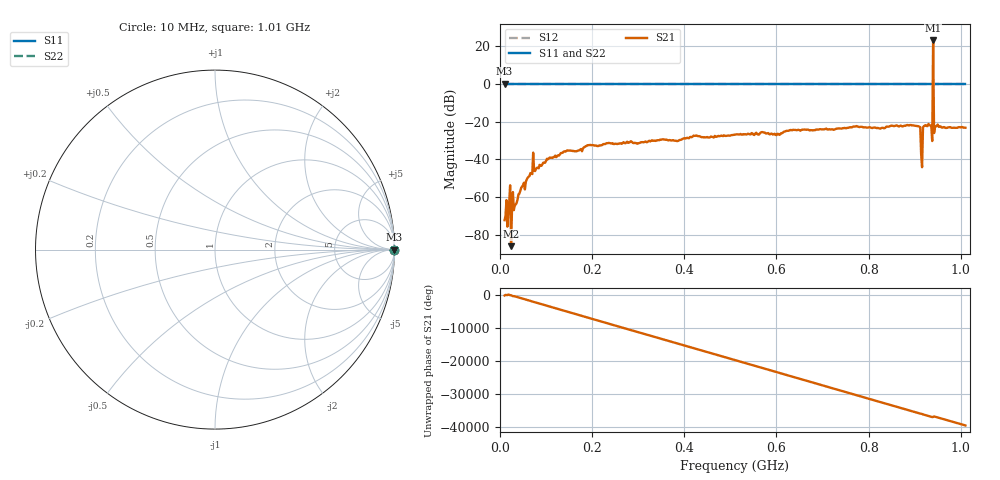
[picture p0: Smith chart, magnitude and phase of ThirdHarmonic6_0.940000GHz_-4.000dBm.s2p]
! 8/16/2025 6:34:55 AM
! C:\ANRITSUVNA\TEMP\TEMP.S2P
! CHANNEL.1
! TR.MEASUREMENT
! RAW.DATA
! RF.CORRECTION.OFF
! AVERAGING.OFF
! IF.BANDWIDTH: 5KHZ
! SWEEPTYPE:  FREQ.SWEEP(Linear)
! Reference Plane Port Info
! PORT:  PORT1  PORT2
! DISTANCE:  0  m  0  m
! TIME:  0  s  0  s
! PHASE.OFFSET:  0  deg.  0  deg.
! LOSS:  0  dB  0  dB
! REF.LOSS:  0  dB  0  dB
! REF.FREQ:  0  Hz  0  Hz
! Power Info
! POWER:  -20  dBm  -20  dBm
! EFF.POWER:  -20  dBm  -20  dBm
! SOURCE.ATTEN:  0  dB  0  dB
! TEST.ATTEN:  0  dB  0  dB
# GHZ S RI R 50.0
! FREQ.GHZ  S11RE  S11IM  S21RE  S21IM  S12RE  S12IM  S22RE  S22IM
!; PortSelection: Port_12
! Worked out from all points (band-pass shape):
!   501 points, 10 MHz to 1.01 GHz, reference 50 ohm
!   highest |S21| = 22.80 dB at 940 MHz (marker M1); lowest = -85.8 dB at 24 MHz (marker M2)
!   |S21| within 3 dB of the highest: 939.887 MHz to 940.1227 MHz (235.7 kHz wide, 0.0251 % of centre)
!   lowest |S11| = 0.0 dB at 10 MHz (marker M3)
!   |S11| at or under -10 dB: nowhere
!   |S22| runs from 0.0 to 0.0 dB; largest |S21 - S12| = 14
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0.01  1 0  -5.89e-05 -0.000242  1 0  1 0
0.02  1 0  -0.000341 0.000652  1 0  1 0
0.024  1 0  4.85e-05 -1.66e-05  1 0  1 0
0.028  1 0  0.00102 0.000925  1 0  1 0
0.048  1 0  0.000509 0.00186  1 0  1 0
0.076  1 0  0.0049 0.000248  1 0  1 0
0.178  1 0  -0.0163 -0.0016  1 0  1 0
0.344  1 0  0.0317 -0.00475  1 0  1 0
0.51  1 0  -0.0438 0.0116  1 0  1 0
0.678  1 0  -0.0198 -0.0552  1 0  1 0
0.844  1 0  0.0462 0.0569  1 0  1 0
0.908  1 0  0.0726 -0.0199  1 0  1 0
0.912  1 0  -0.0708 -0.00528  1 0  1 0
0.914  1 0  -0.0111 0.00779  1 0  1 0
0.918  1 0  0.0407 -0.0582  1 0  1 0
0.922  1 0  -0.0647 0.0447  1 0  1 0
0.934  1 0  0.0756 0.0217  1 0  1 0
0.936  1 0  0.0325 -0.0681  1 0  1 0
0.94  1 0  -3.954 -13.23  1 0  1 0
0.944  1 0  0.0664 -0.0298  1 0  1 0
0.946  1 0  -0.0168 -0.0721  1 0  1 0
1.01  1 0  -0.0646 -0.0231  1 0  1 0
